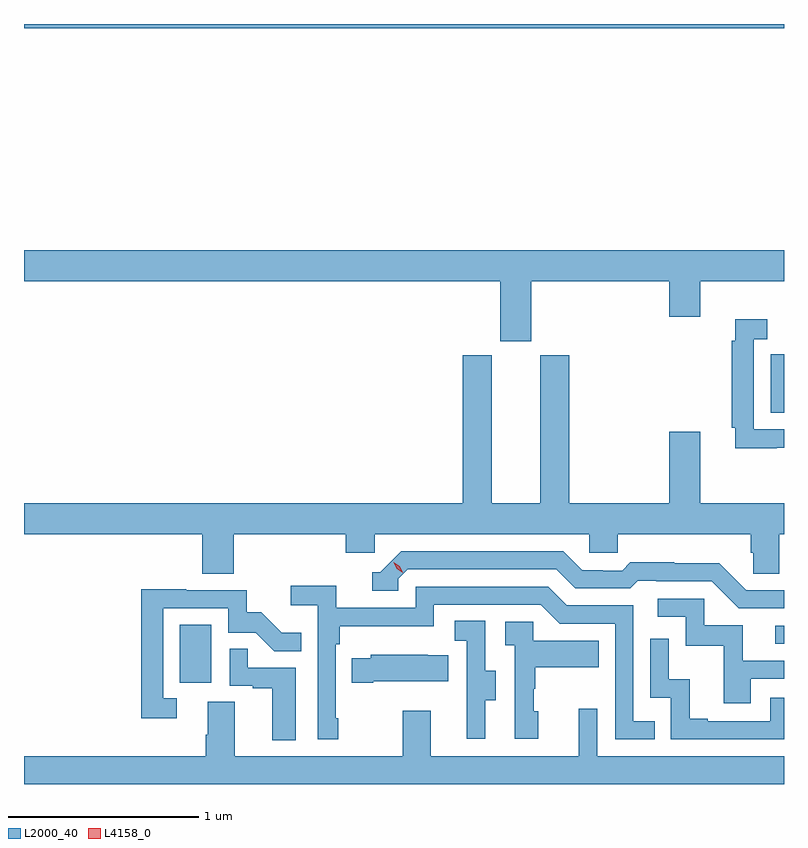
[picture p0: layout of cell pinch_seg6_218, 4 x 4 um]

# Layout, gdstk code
import gdstk
lib = gdstk.Library(unit=1e-6, precision=1e-09)
def R(c, l, rs):  # rectangles x0, y0, x1, y1
    for r in rs: c.add(gdstk.rectangle(r[:2], r[2:], *l))
def P(c, l, *ps):  # polygons
    for p in ps: c.add(gdstk.Polygon(p, *l))
L2000_40 = (2000, 40)
L4158_0 = (4158, 0)

pinch_seg6_218 = lib.new_cell('pinch_seg6_218')
R(pinch_seg6_218, L2000_40, [(1097.498,929.238,1097.662,929.545), (1100.631,929.445,1100.677,929.538), (1100.606,930.66,1100.677,930.967), (1096.677,932.684,1100.677,932.706)])
P(pinch_seg6_218, L2000_40, [(1099.348,931.352),(1100.072,931.352),(1100.072,931.164),(1100.236,931.164),(1100.236,931.352),(1100.677,931.352),(1100.677,931.516),(1096.677,931.516),(1096.677,931.352),(1099.184,931.352),(1099.184,931.035),(1099.348,931.035)],
  [(1100.639,930.477),(1100.677,930.477),(1100.677,930.573),(1100.517,930.573),(1100.517,931.047),(1100.59,931.047),(1100.59,931.153),(1100.42,931.153),(1100.42,931.04),(1100.401,931.04),(1100.401,930.58),(1100.42,930.58),(1100.42,930.472),(1100.639,930.472)],
  [(1099.653,929.922),(1099.803,929.922),(1099.803,930.02),(1100.501,930.02),(1100.501,929.922),(1100.515,929.922),(1100.515,929.812),(1100.652,929.812),(1100.652,930.02),(1100.677,930.02),(1100.677,930.184),(1100.236,930.184),(1100.236,930.559),(1100.072,930.559),(1100.072,930.184),(1099.547,930.184),(1099.547,930.963),(1099.394,930.963),(1099.394,930.184),(1099.138,930.184),(1099.138,930.963),(1098.986,930.963),(1098.986,930.184),(1096.677,930.184),(1096.677,930.02),(1097.615,930.02),(1097.615,929.812),(1097.78,929.812),(1097.78,930.02),(1098.371,930.02),(1098.371,929.922),(1098.522,929.922),(1098.522,930.02),(1099.653,930.02)],
  [(1100.677,929.727),(1100.478,929.727),(1100.336,929.869),(1100.1,929.869),(1100.1,929.872),(1099.867,929.872),(1099.825,929.829),(1099.722,929.829),(1099.722,929.832),(1099.615,929.832),(1099.516,929.931),(1098.663,929.931),(1098.552,929.82),(1098.509,929.82),(1098.509,929.724),(1098.648,929.724),(1098.648,929.787),(1098.696,929.835),(1099.479,929.835),(1099.578,929.736),(1099.867,929.736),(1099.906,929.775),(1100.005,929.775),(1100.005,929.772),(1100.298,929.772),(1100.439,929.631),(1100.677,929.631)],
  [(1098.331,929.053),(1098.318,929.053),(1098.318,929.441),(1098.338,929.441),(1098.338,929.537),(1098.834,929.537),(1098.834,929.649),(1099.398,929.649),(1099.497,929.55),(1099.788,929.55),(1099.788,928.941),(1099.997,928.941),(1099.997,929.037),(1099.884,929.037),(1099.884,929.646),(1099.534,929.646),(1099.435,929.745),(1098.738,929.745),(1098.738,929.634),(1098.32,929.634),(1098.32,929.75),(1098.081,929.75),(1098.081,929.648),(1098.222,929.648),(1098.222,928.941),(1098.331,928.941)],
  [(1097.482,929.157),(1097.409,929.157),(1097.409,929.631),(1097.751,929.631),(1097.751,929.502),(1097.896,929.502),(1097.994,929.404),(1098.137,929.404),(1098.137,929.503),(1098.033,929.503),(1097.926,929.61),(1097.85,929.61),(1097.85,929.727),(1097.531,929.727),(1097.531,929.732),(1097.293,929.732),(1097.293,929.052),(1097.482,929.052)],
  [(1100.503,929.259),(1100.677,929.259),(1100.677,929.355),(1100.461,929.355),(1100.461,929.541),(1100.256,929.541),(1100.256,929.682),(1100.013,929.682),(1100.013,929.586),(1100.16,929.586),(1100.16,929.433),(1100.359,929.433),(1100.359,929.13),(1100.503,929.13)],
  [(1099.105,929.146),(1099.159,929.146),(1099.159,929.301),(1099.104,929.301),(1099.104,929.564),(1098.945,929.564),(1098.945,929.461),(1099.008,929.461),(1099.008,929.157),(1099.007,929.157),(1099.007,928.944),(1099.105,928.944)],
  [(1099.384,929.088),(1099.359,929.088),(1099.359,929.207),(1099.369,929.207),(1099.369,929.321),(1099.703,929.321),(1099.703,929.461),(1099.356,929.461),(1099.356,929.559),(1099.209,929.559),(1099.209,929.435),(1099.26,929.435),(1099.26,928.944),(1099.384,928.944)],
  [(1100.677,929.16),(1100.604,929.16),(1100.604,929.037),(1100.275,929.037),(1100.275,929.05),(1100.18,929.05),(1100.18,929.258),(1100.07,929.258),(1100.07,929.47),(1099.974,929.47),(1099.974,929.16),(1100.082,929.16),(1100.082,928.941),(1100.677,928.941)],
  [(1098.106,929.319),(1097.855,929.319),(1097.855,929.417),(1097.76,929.417),(1097.76,929.223),(1097.881,929.223),(1097.881,929.211),(1097.984,929.211),(1097.984,928.937),(1098.106,928.937)],
  [(1098.514,929.246),(1098.911,929.246),(1098.911,929.383),(1098.803,929.383),(1098.803,929.386),(1098.501,929.386),(1098.501,929.368),(1098.403,929.368),(1098.403,929.239),(1098.514,929.239)],
  [(1100.677,928.852),(1099.695,928.852),(1099.695,929.101),(1099.598,929.101),(1099.598,928.852),(1098.817,928.852),(1098.817,929.092),(1098.67,929.092),(1098.67,928.852),(1097.785,928.852),(1097.785,929.138),(1097.645,929.138),(1097.645,928.964),(1097.633,928.964),(1097.633,928.852),(1096.677,928.852),(1096.677,928.706),(1100.677,928.706)])
P(pinch_seg6_218, L4158_0, [(1098.67,929.819),(1098.639,929.839),(1098.624,929.872),(1098.624,929.872),(1098.624,929.872),(1098.654,929.852),(1098.67,929.819),(1098.67,929.819)])

lib.write_gds('pinch_seg6_218.gds')
